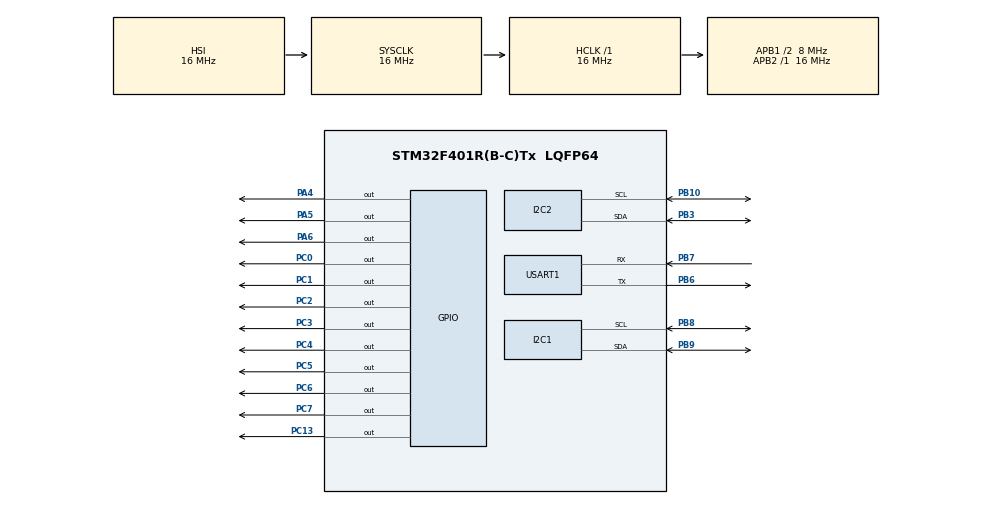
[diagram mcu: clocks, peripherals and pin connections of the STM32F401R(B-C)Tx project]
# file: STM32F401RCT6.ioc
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I2C1.DualAddressMode=I2C_DUALADDRESS_ENABLE
I2C1.GeneralCallMode=I2C_GENERALCALL_ENABLE
Mcu.Family=STM32F4
Mcu.Name=STM32F401R(B-C)Tx
Mcu.Package=LQFP64
NVIC.PriorityGroup=NVIC_PRIORITYGROUP_4
PA4.Signal=GPIO_Output
PA5.Signal=GPIO_Output
PA6.Signal=GPIO_Output
PB10.Mode=I2C
PB10.Signal=I2C2_SCL
PB3.Mode=I2C
PB3.Signal=I2C2_SDA
PB6.Mode=Asynchronous
PB6.Signal=USART1_TX
PB7.Mode=Asynchronous
PB7.Signal=USART1_RX
PB8.Mode=I2C
PB8.Signal=I2C1_SCL
PB9.Mode=I2C
PB9.Signal=I2C1_SDA
PC0.Signal=GPIO_Output
PC1.Signal=GPIO_Output
PC13-ANTI_TAMP.Signal=GPIO_Output
PC2.Signal=GPIO_Output
PC3.Signal=GPIO_Output
PC4.Signal=GPIO_Output
PC5.Signal=GPIO_Output
PC6.Signal=GPIO_Output
PC7.Signal=GPIO_Output
PH0\ -\ OSC_IN.Mode=HSE-External-Oscillator
PH0\ -\ OSC_IN.Signal=RCC_OSC_IN
PH1\ -\ OSC_OUT.Mode=HSE-External-Oscillator
PH1\ -\ OSC_OUT.Signal=RCC_OSC_OUT
ProjectManager.HeapSize=0x200
ProjectManager.StackSize=0x400
ProjectManager.TargetToolchain=STM32CubeIDE
RCC.48MHZClocksFreq_Value=48000000
RCC.AHBFreq_Value=16000000
RCC.APB1CLKDivider=RCC_HCLK_DIV2
RCC.APB1Freq_Value=8000000
RCC.APB1TimFreq_Value=16000000
RCC.APB2Freq_Value=16000000
RCC.APB2TimFreq_Value=16000000
RCC.CortexFreq_Value=16000000
RCC.HCLKFreq_Value=16000000
RCC.HSE_VALUE=16000000
RCC.HSI_VALUE=16000000
RCC.PLLM=8
RCC.PLLN=72
RCC.PLLQ=3
RCC.SYSCLKFreq_VALUE=16000000
RCC.VCOOutputFreq_Value=144000000
USART1.VirtualMode=VM_ASYNC
VP_TIM1_VS_ClockSourceINT.Mode=Internal
board=custom

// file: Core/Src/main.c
/* USER CODE BEGIN Header */
/**
  ******************************************************************************
  * @file           : main.c
  * @brief          : ROV Multi-Sensor Telemetry & Driver Suite
  *                   STM32F401RCT6
  *                   Sensors: GY-521 (MPU-6050), GY-87 (10-DOF), MS5540C (Depth)
  ******************************************************************************
  * @attention
  *
  * Copyright (c) 2026 STMicroelectronics.
  * All rights reserved.
  *
  ******************************************************************************
  */
/* USER CODE END Header */
#include "main.h"

/* USER CODE BEGIN Includes */
#include "mpu6050.h"
#include "bmp280.h"
#include "lcd.h"
#include "uart_comm.h"
#include <stdio.h>
#include <stdbool.h>
/* USER CODE END Includes */

I2C_HandleTypeDef hi2c1;
I2C_HandleTypeDef hi2c2;

TIM_HandleTypeDef htim1;

UART_HandleTypeDef huart1;

/* USER CODE BEGIN PV */
MPU6050_t g_mpu;
BMP_t     g_bmp;
/* USER CODE END PV */

void SystemClock_Config(void);
static void MX_GPIO_Init(void);
static void MX_I2C1_Init(void);
static void MX_USART1_UART_Init(void);
static void MX_I2C2_Init(void);
static void MX_TIM1_Init(void);

int main(void)
{

  /* MCU Configuration--------------------------------------------------------*/

  /* Reset of all peripherals, Initializes the Flash interface and the Systick. */
  HAL_Init();

  /* Configure the system clock */
  SystemClock_Config();

  /* Initialize all configured peripherals */
  MX_GPIO_Init();
  MX_I2C1_Init();
  MX_USART1_UART_Init();
  MX_I2C2_Init();
  MX_TIM1_Init();
  /* USER CODE BEGIN 2 */

  /* 1. Configure USART1 at 9600 Baud for Proteus Virtual Terminal */
  huart1.Init.BaudRate = 9600;
  HAL_UART_Init(&huart1);
  UART_Comm_Init(&huart1);

  /* 2. Transmit Startup Banner over UART immediately */
  UART_Printf("\r\n========================================\r\n");
  UART_Printf(" Assiut Robotics - Embedded Systems Batch\r\n");
  UART_Printf(" Task 4: I2C Telemetry & 8-Bit LCD\r\n");
  UART_Printf(" MCU: STM32F401RCT6 (Blackpill Cortex-M4)\r\n");
  UART_Printf(" I2C1: SCL=PB8, SDA=PB9 | UART1: TX=PB6, RX=PB7\r\n");
  UART_Printf(" LCD 8-Bit: PC0..PC7 (Data), PA4(EN), PA5(RS), PA6(RW)\r\n");
  UART_Printf(" TIM2 PWM: PA0 (CH1) | Heartbeat LED: PC13\r\n");
  UART_Printf("========================================\r\n");

  /* 4. Initialize 16x2 Character LCD in 8-bit mode */
  LCD_Init();
  LCD_SetCursor(0, 0);
  LCD_SendString("Assiut Robotics");
  LCD_SetCursor(1, 0);
  LCD_SendString("Task 4 - F401RC ");
  HAL_Delay(500);
  LCD_Clear();

  /* 5. Initialize MPU-6050 Motion Sensor (I2C address 0x68) */
  if (MPU6050_Init(&g_mpu, &hi2c1, (0x68 << 1), MPU6050_ACCEL_FS_4G, MPU6050_GYRO_FS_500DPS, MPU6050_DLPF_44HZ) == HAL_OK) {
      UART_Printf("[INIT] MPU-6050 Motion Sensor ONLINE at 0x68!\r\n");
  } else {
      UART_Printf("[INIT] MPU-6050 polling on I2C1...\r\n");
  }

  /* 6. Initialize BMP280 / BMP180 Pressure & Temperature Sensor (0x76 / 0x77) */
  if (BMP_Init(&g_bmp, &hi2c1) == HAL_OK) {
      UART_Printf("[INIT] BMP Sensor ONLINE (Type: %d, ID: 0x%02X)!\r\n", g_bmp.sensor_type, g_bmp.chip_id);
  } else {
      UART_Printf("[INIT] BMP Sensor polling on I2C1...\r\n");
  }

  /* USER CODE END 2 */

  /* Infinite loop */
  /* USER CODE BEGIN WHILE */
  uint32_t last_attitude_tick  = HAL_GetTick();
  uint32_t last_telemetry_tick = HAL_GetTick();
  uint32_t last_page_tick      = HAL_GetTick();
  uint8_t  lcd_page            = 0;

  while (1)
  {
    uint32_t current_tick = HAL_GetTick();

    /* 1. High-frequency attitude fusion (50 Hz / every 20ms) */
    if ((current_tick - last_attitude_tick) >= 20) {
        float dt = (float)(current_tick - last_attitude_tick) / 1000.0f;
        last_attitude_tick = current_tick;
        if (g_mpu.is_initialized) {
            MPU6050_UpdateAttitude(&g_mpu, dt);
        } else {
            MPU6050_Init(&g_mpu, &hi2c1, (0x68 << 1), MPU6050_ACCEL_FS_4G, MPU6050_GYRO_FS_500DPS, MPU6050_DLPF_44HZ);
        }
    }

    /* 2. Switch LCD Row 1 Display Page every 2.5 seconds */
    if ((current_tick - last_page_tick) >= 2500) {
        last_page_tick = current_tick;
        lcd_page = !lcd_page;
    }

    /* 3. Telemetry Stream & Display Refresh (5 Hz / every 200ms) */
    if ((current_tick - last_telemetry_tick) >= 200) {
        last_telemetry_tick = current_tick;

        /* Read Barometer */
        if (g_bmp.is_initialized) {
            BMP_Read(&g_bmp);
        } else {
            BMP_Init(&g_bmp, &hi2c1);
        }

        /* Transmit Real-Time Telemetry over USART1 (Virtual Terminal) & USB CDC */
        UART_SendTelemetry(g_mpu.data.roll_deg,
                           g_mpu.data.pitch_deg,
                           g_mpu.data.yaw_deg,
                           g_bmp.temperature,
                           g_bmp.pressure_hpa,
                           g_bmp.altitude);

        /* Update 16x2 Character LCD in 8-bit mode */
        LCD_DisplaySensors(g_mpu.data.roll_deg,
                           g_mpu.data.pitch_deg,
                           g_mpu.data.yaw_deg,
                           g_bmp.temperature,
                           g_bmp.pressure_hpa,
                           g_bmp.altitude,
                           lcd_page);

        /* Toggle Heartbeat Status LED on PC13 */
        HAL_GPIO_TogglePin(GPIOC, GPIO_PIN_13);
    }

    /* USER CODE END WHILE */

  }
}

void SystemClock_Config(void)
{
  RCC_OscInitTypeDef RCC_OscInitStruct = {0};
  RCC_ClkInitTypeDef RCC_ClkInitStruct = {0};

  /** Configure the main internal regulator output voltage
  */
  __HAL_RCC_PWR_CLK_ENABLE();
  __HAL_PWR_VOLTAGESCALING_CONFIG(PWR_REGULATOR_VOLTAGE_SCALE2);

  /** Initializes the RCC Oscillators according to the specified parameters
  * in the RCC_OscInitTypeDef structure.
  */
  RCC_OscInitStruct.OscillatorType = RCC_OSCILLATORTYPE_HSI;
  RCC_OscInitStruct.HSIState = RCC_HSI_ON;
  RCC_OscInitStruct.HSICalibrationValue = RCC_HSICALIBRATION_DEFAULT;
  RCC_OscInitStruct.PLL.PLLState = RCC_PLL_NONE;
  if (HAL_RCC_OscConfig(&RCC_OscInitStruct) != HAL_OK)
  {
    Error_Handler();
  }

  /** Initializes the CPU, AHB and APB buses clocks
  */
  RCC_ClkInitStruct.ClockType = RCC_CLOCKTYPE_HCLK|RCC_CLOCKTYPE_SYSCLK
                              |RCC_CLOCKTYPE_PCLK1|RCC_CLOCKTYPE_PCLK2;
  RCC_ClkInitStruct.SYSCLKSource = RCC_SYSCLKSOURCE_HSI;
  RCC_ClkInitStruct.AHBCLKDivider = RCC_SYSCLK_DIV1;
  RCC_ClkInitStruct.APB1CLKDivider = RCC_HCLK_DIV2;
  RCC_ClkInitStruct.APB2CLKDivider = RCC_HCLK_DIV1;

  if (HAL_RCC_ClockConfig(&RCC_ClkInitStruct, FLASH_LATENCY_0) != HAL_OK)
  {
    Error_Handler();
  }
}

static void MX_I2C1_Init(void)
{

  hi2c1.Instance = I2C1;
  hi2c1.Init.ClockSpeed = 100000;
  hi2c1.Init.DutyCycle = I2C_DUTYCYCLE_2;
  hi2c1.Init.OwnAddress1 = 0;
  hi2c1.Init.AddressingMode = I2C_ADDRESSINGMODE_7BIT;
  hi2c1.Init.DualAddressMode = I2C_DUALADDRESS_ENABLE;
  hi2c1.Init.OwnAddress2 = 0;
  hi2c1.Init.GeneralCallMode = I2C_GENERALCALL_ENABLE;
  hi2c1.Init.NoStretchMode = I2C_NOSTRETCH_DISABLE;
  if (HAL_I2C_Init(&hi2c1) != HAL_OK)
  {
    Error_Handler();
  }

}

static void MX_I2C2_Init(void)
{

  hi2c2.Instance = I2C2;
  hi2c2.Init.ClockSpeed = 100000;
  hi2c2.Init.DutyCycle = I2C_DUTYCYCLE_2;
  hi2c2.Init.OwnAddress1 = 0;
  hi2c2.Init.AddressingMode = I2C_ADDRESSINGMODE_7BIT;
  hi2c2.Init.DualAddressMode = I2C_DUALADDRESS_DISABLE;
  hi2c2.Init.OwnAddress2 = 0;
  hi2c2.Init.GeneralCallMode = I2C_GENERALCALL_DISABLE;
  hi2c2.Init.NoStretchMode = I2C_NOSTRETCH_DISABLE;
  if (HAL_I2C_Init(&hi2c2) != HAL_OK)
  {
    Error_Handler();
  }

}

static void MX_TIM1_Init(void)
{

  TIM_ClockConfigTypeDef sClockSourceConfig = {0};
  TIM_MasterConfigTypeDef sMasterConfig = {0};

  htim1.Instance = TIM1;
  htim1.Init.Prescaler = 0;
  htim1.Init.CounterMode = TIM_COUNTERMODE_UP;
  htim1.Init.Period = 65535;
  htim1.Init.ClockDivision = TIM_CLOCKDIVISION_DIV1;
  htim1.Init.RepetitionCounter = 0;
  htim1.Init.AutoReloadPreload = TIM_AUTORELOAD_PRELOAD_DISABLE;
  if (HAL_TIM_Base_Init(&htim1) != HAL_OK)
  {
    Error_Handler();
  }
  sClockSourceConfig.ClockSource = TIM_CLOCKSOURCE_INTERNAL;
  if (HAL_TIM_ConfigClockSource(&htim1, &sClockSourceConfig) != HAL_OK)
  {
    Error_Handler();
  }
  sMasterConfig.MasterOutputTrigger = TIM_TRGO_RESET;
  sMasterConfig.MasterSlaveMode = TIM_MASTERSLAVEMODE_DISABLE;
  if (HAL_TIMEx_MasterConfigSynchronization(&htim1, &sMasterConfig) != HAL_OK)
  {
    Error_Handler();
  }

}

static void MX_USART1_UART_Init(void)
{

  huart1.Instance = USART1;
  huart1.Init.BaudRate = 115200;
  huart1.Init.WordLength = UART_WORDLENGTH_8B;
  huart1.Init.StopBits = UART_STOPBITS_1;
  huart1.Init.Parity = UART_PARITY_NONE;
  huart1.Init.Mode = UART_MODE_TX_RX;
  huart1.Init.HwFlowCtl = UART_HWCONTROL_NONE;
  huart1.Init.OverSampling = UART_OVERSAMPLING_16;
  if (HAL_UART_Init(&huart1) != HAL_OK)
  {
    Error_Handler();
  }

}

static void MX_GPIO_Init(void)
{
  GPIO_InitTypeDef GPIO_InitStruct = {0};

  /* GPIO Ports Clock Enable */
  __HAL_RCC_GPIOC_CLK_ENABLE();
  __HAL_RCC_GPIOH_CLK_ENABLE();
  __HAL_RCC_GPIOA_CLK_ENABLE();
  __HAL_RCC_GPIOB_CLK_ENABLE();

  /*Configure GPIO pin Output Level */
  HAL_GPIO_WritePin(GPIOC, GPIO_PIN_13|GPIO_PIN_0|GPIO_PIN_1|GPIO_PIN_2
                          |GPIO_PIN_3|GPIO_PIN_4|GPIO_PIN_5|GPIO_PIN_6
                          |GPIO_PIN_7, GPIO_PIN_RESET);

  /*Configure GPIO pin Output Level */
  HAL_GPIO_WritePin(GPIOA, GPIO_PIN_4|GPIO_PIN_5|GPIO_PIN_6, GPIO_PIN_RESET);

  /*Configure GPIO pins : PC13 PC0 PC1 PC2
                           PC3 PC4 PC5 PC6
                           PC7 */
  GPIO_InitStruct.Pin = GPIO_PIN_13|GPIO_PIN_0|GPIO_PIN_1|GPIO_PIN_2
                          |GPIO_PIN_3|GPIO_PIN_4|GPIO_PIN_5|GPIO_PIN_6
                          |GPIO_PIN_7;
  GPIO_InitStruct.Mode = GPIO_MODE_OUTPUT_PP;
  GPIO_InitStruct.Pull = GPIO_NOPULL;
  GPIO_InitStruct.Speed = GPIO_SPEED_FREQ_LOW;
  HAL_GPIO_Init(GPIOC, &GPIO_InitStruct);

  /*Configure GPIO pins : PA4 PA5 PA6 */
  GPIO_InitStruct.Pin = GPIO_PIN_4|GPIO_PIN_5|GPIO_PIN_6;
  GPIO_InitStruct.Mode = GPIO_MODE_OUTPUT_PP;
  GPIO_InitStruct.Pull = GPIO_NOPULL;
  GPIO_InitStruct.Speed = GPIO_SPEED_FREQ_LOW;
  HAL_GPIO_Init(GPIOA, &GPIO_InitStruct);

}

void Error_Handler(void)
{
  /* USER CODE BEGIN Error_Handler_Debug */
  /* Rapid blink PC13 to indicate trapped in Error_Handler */
  __HAL_RCC_GPIOC_CLK_ENABLE();
  GPIO_InitTypeDef GPIO_InitStruct = {0};
  GPIO_InitStruct.Pin = GPIO_PIN_13;
  GPIO_InitStruct.Mode = GPIO_MODE_OUTPUT_PP;
  GPIO_InitStruct.Pull = GPIO_NOPULL;
  GPIO_InitStruct.Speed = GPIO_SPEED_FREQ_LOW;
  HAL_GPIO_Init(GPIOC, &GPIO_InitStruct);

  while (1)
  {
    HAL_GPIO_TogglePin(GPIOC, GPIO_PIN_13);
    for (volatile int i = 0; i < 200000; i++);
  }
  /* USER CODE END Error_Handler_Debug */
}
